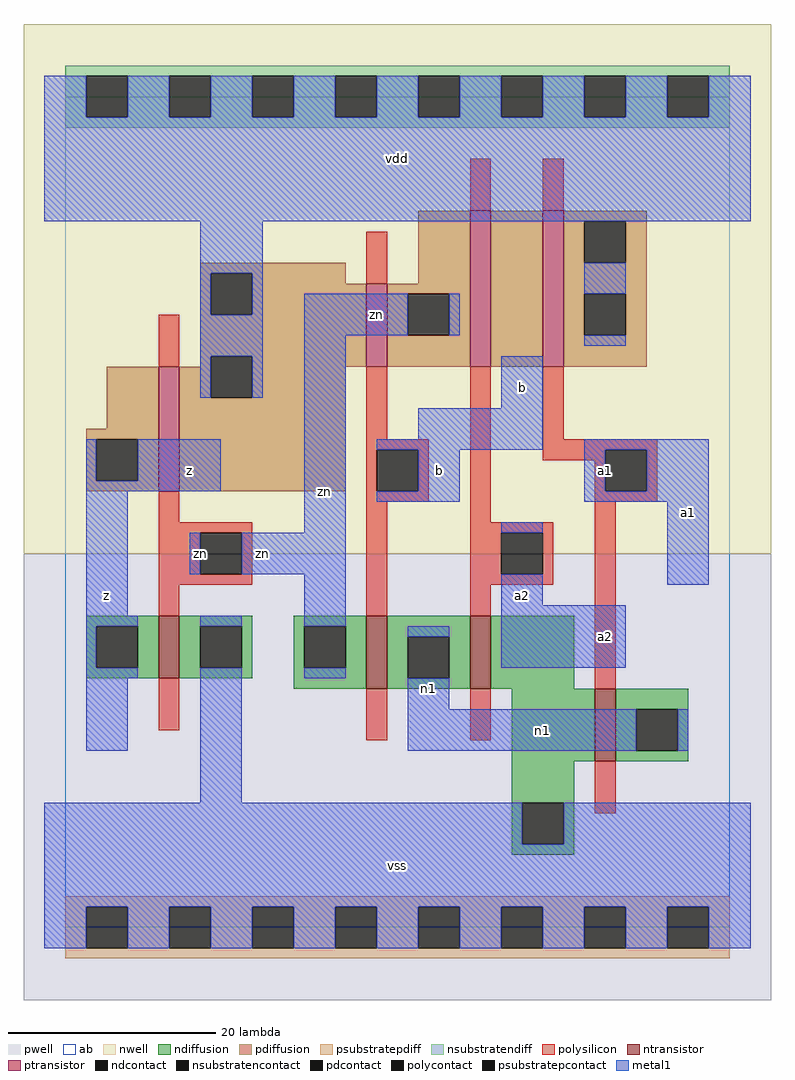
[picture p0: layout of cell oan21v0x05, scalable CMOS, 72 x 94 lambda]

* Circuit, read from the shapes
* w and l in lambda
.subckt oan21v0x05 a1 a2 b n1 vdd vss z zn
M1 vss zn z vss nfet w=6 l=2
M2 n1 b zn vss nfet w=7 l=2
M3 vss a2 n1 vss nfet w=7 l=2
M4 n1 a1 vss vss nfet w=7 l=2
M5 vdd zn z vdd pfet w=12 l=2
M6 zn b vdd vdd pfet w=8 l=2
M7 n2 a2 zn vdd pfet w=15 l=2
M8 vdd a1 n2 vdd pfet w=15 l=2
.ends

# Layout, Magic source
magic
tech scmos
<< ab >>
rect 0 0 64 80
<< pwell >>
rect -4 -7 68 36
<< nwell >>
rect -4 36 68 87
<< polysilicon >>
rect 39 69 41 74
rect 46 69 48 74
rect 29 62 31 67
rect 9 54 11 59
rect 29 47 31 54
rect 29 46 35 47
rect 29 42 30 46
rect 34 42 35 46
rect 9 39 11 42
rect 29 41 35 42
rect 9 38 18 39
rect 9 34 13 38
rect 17 34 18 38
rect 9 33 18 34
rect 9 30 11 33
rect 29 30 31 41
rect 39 39 41 54
rect 46 47 48 54
rect 46 46 57 47
rect 46 45 52 46
rect 51 42 52 45
rect 56 42 57 46
rect 51 41 57 42
rect 39 38 47 39
rect 39 34 42 38
rect 46 34 47 38
rect 39 33 47 34
rect 39 30 41 33
rect 9 19 11 24
rect 51 23 53 41
rect 29 18 31 23
rect 39 18 41 23
rect 51 11 53 16
<< ndiffusion >>
rect 2 29 9 30
rect 2 25 3 29
rect 7 25 9 29
rect 2 24 9 25
rect 11 29 18 30
rect 11 25 13 29
rect 17 25 18 29
rect 11 24 18 25
rect 22 29 29 30
rect 22 25 23 29
rect 27 25 29 29
rect 22 23 29 25
rect 31 28 39 30
rect 31 24 33 28
rect 37 24 39 28
rect 31 23 39 24
rect 41 23 49 30
rect 43 16 51 23
rect 53 21 60 23
rect 53 17 55 21
rect 59 17 60 21
rect 53 16 60 17
rect 43 12 49 16
rect 43 8 44 12
rect 48 8 49 12
rect 43 7 49 8
<< pdiffusion >>
rect 13 63 27 64
rect 13 59 14 63
rect 18 62 27 63
rect 34 62 39 69
rect 18 59 29 62
rect 13 55 29 59
rect 13 54 14 55
rect 4 48 9 54
rect 2 47 9 48
rect 2 43 3 47
rect 7 43 9 47
rect 2 42 9 43
rect 11 51 14 54
rect 18 54 29 55
rect 31 61 39 62
rect 31 57 33 61
rect 37 57 39 61
rect 31 54 39 57
rect 41 54 46 69
rect 48 68 56 69
rect 48 64 50 68
rect 54 64 56 68
rect 48 61 56 64
rect 48 57 50 61
rect 54 57 56 61
rect 48 54 56 57
rect 18 51 27 54
rect 11 42 27 51
<< metal1 >>
rect -2 78 2 82
rect 6 78 10 82
rect 14 78 18 82
rect 22 78 26 82
rect 30 78 34 82
rect 38 78 42 82
rect 46 78 50 82
rect 54 78 58 82
rect 62 78 66 82
rect -2 68 66 78
rect 13 63 19 68
rect 13 59 14 63
rect 18 59 19 63
rect 50 61 54 64
rect 13 55 19 59
rect 13 51 14 55
rect 18 51 19 55
rect 23 57 33 61
rect 37 57 38 61
rect 2 43 3 47
rect 7 43 15 47
rect 2 42 15 43
rect 2 30 6 42
rect 23 38 27 57
rect 50 56 54 57
rect 42 50 46 55
rect 34 47 46 50
rect 30 46 46 47
rect 50 46 62 47
rect 34 42 38 46
rect 30 41 38 42
rect 50 42 52 46
rect 56 42 62 46
rect 50 41 62 42
rect 12 34 13 38
rect 17 34 27 38
rect 2 29 7 30
rect 2 25 3 29
rect 2 24 7 25
rect 13 29 17 30
rect 2 17 6 24
rect 13 12 17 25
rect 23 29 27 34
rect 42 38 46 39
rect 42 31 46 34
rect 58 33 62 41
rect 23 24 27 25
rect 33 28 37 29
rect 42 25 54 31
rect 33 21 37 24
rect 33 17 55 21
rect 59 17 60 21
rect -2 8 44 12
rect 48 8 66 12
rect -2 2 66 8
rect -2 -2 2 2
rect 6 -2 10 2
rect 14 -2 18 2
rect 22 -2 26 2
rect 30 -2 34 2
rect 38 -2 42 2
rect 46 -2 50 2
rect 54 -2 58 2
rect 62 -2 66 2
<< ntransistor >>
rect 9 24 11 30
rect 29 23 31 30
rect 39 23 41 30
rect 51 16 53 23
<< ptransistor >>
rect 9 42 11 54
rect 29 54 31 62
rect 39 54 41 69
rect 46 54 48 69
<< polycontact >>
rect 30 42 34 46
rect 13 34 17 38
rect 52 42 56 46
rect 42 34 46 38
<< ndcontact >>
rect 3 25 7 29
rect 13 25 17 29
rect 23 25 27 29
rect 33 24 37 28
rect 55 17 59 21
rect 44 8 48 12
<< pdcontact >>
rect 14 59 18 63
rect 3 43 7 47
rect 14 51 18 55
rect 33 57 37 61
rect 50 64 54 68
rect 50 57 54 61
<< psubstratepcontact >>
rect 2 -2 6 2
rect 10 -2 14 2
rect 18 -2 22 2
rect 26 -2 30 2
rect 34 -2 38 2
rect 42 -2 46 2
rect 50 -2 54 2
rect 58 -2 62 2
<< nsubstratencontact >>
rect 2 78 6 82
rect 10 78 14 82
rect 18 78 22 82
rect 26 78 30 82
rect 34 78 38 82
rect 42 78 46 82
rect 50 78 54 82
rect 58 78 62 82
<< psubstratepdiff >>
rect 0 2 64 3
rect 0 -2 2 2
rect 6 -2 10 2
rect 14 -2 18 2
rect 22 -2 26 2
rect 30 -2 34 2
rect 38 -2 42 2
rect 46 -2 50 2
rect 54 -2 58 2
rect 62 -2 64 2
rect 0 -3 64 -2
<< nsubstratendiff >>
rect 0 82 64 83
rect 0 78 2 82
rect 6 78 10 82
rect 14 78 18 82
rect 22 78 26 82
rect 30 78 34 82
rect 38 78 42 82
rect 46 78 50 82
rect 54 78 58 82
rect 62 78 64 82
rect 0 77 64 78
<< labels >>
rlabel polysilicon 13 36 13 36 6 zn
rlabel metal1 4 32 4 32 6 z
rlabel metal1 12 44 12 44 6 z
rlabel metal1 19 36 19 36 6 zn
rlabel metal1 25 42 25 42 6 zn
rlabel metal1 32 6 32 6 6 vss
rlabel metal1 35 23 35 23 6 n1
rlabel metal1 44 32 44 32 6 a2
rlabel metal1 36 44 36 44 6 b
rlabel metal1 30 59 30 59 6 zn
rlabel metal1 44 52 44 52 6 b
rlabel metal1 32 74 32 74 6 vdd
rlabel metal1 46 19 46 19 6 n1
rlabel metal1 52 28 52 28 6 a2
rlabel metal1 60 40 60 40 6 a1
rlabel metal1 52 44 52 44 6 a1
<< end >>
